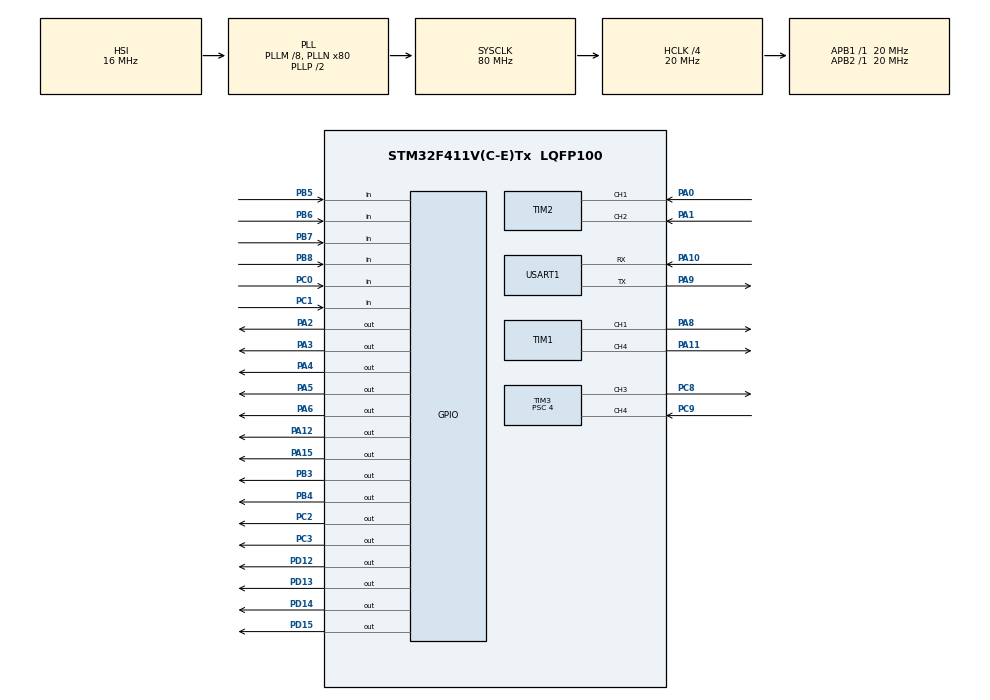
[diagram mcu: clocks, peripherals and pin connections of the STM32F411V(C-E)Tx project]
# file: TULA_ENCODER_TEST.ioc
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Mcu.Family=STM32F4
Mcu.Name=STM32F411V(C-E)Tx
Mcu.Package=LQFP100
NVIC.PriorityGroup=NVIC_PRIORITYGROUP_4
PA0-WKUP.Signal=S_TIM2_CH1_ETR
PA1.Signal=S_TIM2_CH2
PA10.Mode=Asynchronous
PA10.Signal=USART1_RX
PA11.Signal=S_TIM1_CH4
PA12.Signal=GPIO_Output
PA13.Mode=Serial_Wire
PA13.Signal=SYS_JTMS-SWDIO
PA14.Mode=Serial_Wire
PA14.Signal=SYS_JTCK-SWCLK
PA15.Signal=GPIO_Output
PA2.Signal=GPIO_Output
PA3.Signal=GPIO_Output
PA4.Signal=GPIO_Output
PA5.Signal=GPIO_Output
PA6.Signal=GPIO_Output
PA8.Signal=S_TIM1_CH1
PA9.Mode=Asynchronous
PA9.Signal=USART1_TX
PB3.Signal=GPIO_Output
PB4.Signal=GPIO_Output
PB5.Signal=GPIO_Input
PB6.Signal=GPIO_Input
PB7.Signal=GPIO_Input
PB8.Signal=GPIO_Input
PC0.Signal=GPIO_Input
PC1.Signal=GPIO_Input
PC14-OSC32_IN.Mode=LSE-External-Oscillator
PC14-OSC32_IN.Signal=RCC_OSC32_IN
PC15-OSC32_OUT.Mode=LSE-External-Oscillator
PC15-OSC32_OUT.Signal=RCC_OSC32_OUT
PC2.Signal=GPIO_Output
PC3.Signal=GPIO_Output
PC8.Signal=S_TIM3_CH3
PC9.Signal=S_TIM3_CH4
PD12.Signal=GPIO_Output
PD13.Signal=GPIO_Output
PD14.Signal=GPIO_Output
PD15.Signal=GPIO_Output
PH0\ -\ OSC_IN.Mode=HSE-External-Oscillator
PH0\ -\ OSC_IN.Signal=RCC_OSC_IN
PH1\ -\ OSC_OUT.Mode=HSE-External-Oscillator
PH1\ -\ OSC_OUT.Signal=RCC_OSC_OUT
ProjectManager.HeapSize=0x200
ProjectManager.StackSize=0x400
ProjectManager.TargetToolchain=STM32CubeIDE
RCC.48MHZClocksFreq_Value=40000000
RCC.AHBCLKDivider=RCC_SYSCLK_DIV4
RCC.AHBFreq_Value=20000000
RCC.APB1Freq_Value=20000000
RCC.APB1TimFreq_Value=20000000
RCC.APB2Freq_Value=20000000
RCC.APB2TimFreq_Value=20000000
RCC.CortexFreq_Value=20000000
RCC.HCLKFreq_Value=20000000
RCC.HSE_VALUE=25000000
RCC.HSI_VALUE=16000000
RCC.PLLM=8
RCC.PLLN=80
RCC.SYSCLKFreq_VALUE=80000000
RCC.SYSCLKSource=RCC_SYSCLKSOURCE_PLLCLK
RCC.VCOOutputFreq_Value=160000000
SH.S_TIM1_CH1.0=TIM1_CH1,PWM Generation1 CH1
SH.S_TIM1_CH4.0=TIM1_CH4,PWM Generation4 CH4
SH.S_TIM2_CH1_ETR.0=TIM2_CH1,Encoder_Interface
SH.S_TIM2_CH2.0=TIM2_CH2,Encoder_Interface
SH.S_TIM3_CH3.0=TIM3_CH3,PWM Generation3 CH3
SH.S_TIM3_CH4.0=TIM3_CH4,Input_Capture4_from_TI4
TIM1.Channel-PWM\ Generation1\ CH1=TIM_CHANNEL_1
TIM1.Channel-PWM\ Generation4\ CH4=TIM_CHANNEL_4
TIM3.Channel-Input_Capture4_from_TI4=TIM_CHANNEL_4
TIM3.Channel-PWM\ Generation3\ CH3=TIM_CHANNEL_3
TIM3.Prescaler=4
TIM3.Pulse-PWM\ Generation3\ CH3=49999
USART1.VirtualMode=VM_ASYNC
VP_TIM3_VS_ClockSourceINT.Mode=Internal
VP_TIM3_VS_OPM.Mode=OPM_bit
board=custom

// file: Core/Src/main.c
/* USER CODE BEGIN Header */
/**
 ******************************************************************************
 * @file           : main.c
 * @brief          : Main program body
 ******************************************************************************
 * @attention
 *
 * Copyright (c) 2025 STMicroelectronics.
 * All rights reserved.
 *
 * This software is licensed under terms that can be found in the LICENSE file
 * in the root directory of this software component.
 * If no LICENSE file comes with this software, it is provided AS-IS.
 *
 ******************************************************************************
 */
/* USER CODE END Header */
#include "main.h"

TIM_HandleTypeDef htim1;
TIM_HandleTypeDef htim2;
TIM_HandleTypeDef htim3;

UART_HandleTypeDef huart1;

void SystemClock_Config(void);
static void MX_GPIO_Init(void);
static void MX_TIM2_Init(void);
static void MX_TIM1_Init(void);
static void MX_TIM3_Init(void);
static void MX_USART1_UART_Init(void);
/* USER CODE BEGIN PFP */
void LED_Blink(uint16_t pin, uint32_t delay);
void LED_Blink_Sequence(uint32_t delay);

/* USER CODE END PFP */

/* USER CODE BEGIN 0 */

void LED_Blink(uint16_t pin, uint32_t delay) {
    HAL_GPIO_WritePin(GPIOD, pin, GPIO_PIN_SET);
    HAL_Delay(delay);
    HAL_GPIO_WritePin(GPIOD, pin, GPIO_PIN_RESET);
}

// LED 순차 점멸 함수
void LED_Blink_Sequence(uint32_t delay) {
    LED_Blink(GPIO_PIN_12, delay);
    LED_Blink(GPIO_PIN_13, delay);
    LED_Blink(GPIO_PIN_14, delay);
    LED_Blink(GPIO_PIN_15, delay);
}

/* USER CODE END 0 */

int main(void)
{

  /* MCU Configuration--------------------------------------------------------*/

  /* Reset of all peripherals, Initializes the Flash interface and the Systick. */
  HAL_Init();

  /* Configure the system clock */
  SystemClock_Config();

  /* Initialize all configured peripherals */
  MX_GPIO_Init();
  MX_TIM2_Init();
  MX_TIM1_Init();
  MX_TIM3_Init();
  MX_USART1_UART_Init();
  /* USER CODE BEGIN 2 */
  HAL_TIM_OnePulse_Start(&htim3, TIM_CHANNEL_3);

  /* USER CODE END 2 */

  /* Infinite loop */
	while (1) {

    /* USER CODE BEGIN 3 */

        LED_Blink_Sequence(1000);

	}
  /* USER CODE END 3 */
}

void SystemClock_Config(void)
{
  RCC_OscInitTypeDef RCC_OscInitStruct = {0};
  RCC_ClkInitTypeDef RCC_ClkInitStruct = {0};

  /** Configure the main internal regulator output voltage
  */
  __HAL_RCC_PWR_CLK_ENABLE();
  __HAL_PWR_VOLTAGESCALING_CONFIG(PWR_REGULATOR_VOLTAGE_SCALE1);

  /** Initializes the RCC Oscillators according to the specified parameters
  * in the RCC_OscInitTypeDef structure.
  */
  RCC_OscInitStruct.OscillatorType = RCC_OSCILLATORTYPE_HSI;
  RCC_OscInitStruct.HSIState = RCC_HSI_ON;
  RCC_OscInitStruct.HSICalibrationValue = RCC_HSICALIBRATION_DEFAULT;
  RCC_OscInitStruct.PLL.PLLState = RCC_PLL_ON;
  RCC_OscInitStruct.PLL.PLLSource = RCC_PLLSOURCE_HSI;
  RCC_OscInitStruct.PLL.PLLM = 8;
  RCC_OscInitStruct.PLL.PLLN = 80;
  RCC_OscInitStruct.PLL.PLLP = RCC_PLLP_DIV2;
  RCC_OscInitStruct.PLL.PLLQ = 4;
  if (HAL_RCC_OscConfig(&RCC_OscInitStruct) != HAL_OK)
  {
    Error_Handler();
  }

  /** Initializes the CPU, AHB and APB buses clocks
  */
  RCC_ClkInitStruct.ClockType = RCC_CLOCKTYPE_HCLK|RCC_CLOCKTYPE_SYSCLK
                              |RCC_CLOCKTYPE_PCLK1|RCC_CLOCKTYPE_PCLK2;
  RCC_ClkInitStruct.SYSCLKSource = RCC_SYSCLKSOURCE_PLLCLK;
  RCC_ClkInitStruct.AHBCLKDivider = RCC_SYSCLK_DIV4;
  RCC_ClkInitStruct.APB1CLKDivider = RCC_HCLK_DIV1;
  RCC_ClkInitStruct.APB2CLKDivider = RCC_HCLK_DIV1;

  if (HAL_RCC_ClockConfig(&RCC_ClkInitStruct, FLASH_LATENCY_0) != HAL_OK)
  {
    Error_Handler();
  }
}

static void MX_TIM1_Init(void)
{

  TIM_MasterConfigTypeDef sMasterConfig = {0};
  TIM_OC_InitTypeDef sConfigOC = {0};
  TIM_BreakDeadTimeConfigTypeDef sBreakDeadTimeConfig = {0};

  htim1.Instance = TIM1;
  htim1.Init.Prescaler = 0;
  htim1.Init.CounterMode = TIM_COUNTERMODE_UP;
  htim1.Init.Period = 65535;
  htim1.Init.ClockDivision = TIM_CLOCKDIVISION_DIV1;
  htim1.Init.RepetitionCounter = 0;
  htim1.Init.AutoReloadPreload = TIM_AUTORELOAD_PRELOAD_DISABLE;
  if (HAL_TIM_PWM_Init(&htim1) != HAL_OK)
  {
    Error_Handler();
  }
  sMasterConfig.MasterOutputTrigger = TIM_TRGO_RESET;
  sMasterConfig.MasterSlaveMode = TIM_MASTERSLAVEMODE_DISABLE;
  if (HAL_TIMEx_MasterConfigSynchronization(&htim1, &sMasterConfig) != HAL_OK)
  {
    Error_Handler();
  }
  sConfigOC.OCMode = TIM_OCMODE_PWM1;
  sConfigOC.Pulse = 0;
  sConfigOC.OCPolarity = TIM_OCPOLARITY_HIGH;
  sConfigOC.OCNPolarity = TIM_OCNPOLARITY_HIGH;
  sConfigOC.OCFastMode = TIM_OCFAST_DISABLE;
  sConfigOC.OCIdleState = TIM_OCIDLESTATE_RESET;
  sConfigOC.OCNIdleState = TIM_OCNIDLESTATE_RESET;
  if (HAL_TIM_PWM_ConfigChannel(&htim1, &sConfigOC, TIM_CHANNEL_1) != HAL_OK)
  {
    Error_Handler();
  }
  if (HAL_TIM_PWM_ConfigChannel(&htim1, &sConfigOC, TIM_CHANNEL_4) != HAL_OK)
  {
    Error_Handler();
  }
  sBreakDeadTimeConfig.OffStateRunMode = TIM_OSSR_DISABLE;
  sBreakDeadTimeConfig.OffStateIDLEMode = TIM_OSSI_DISABLE;
  sBreakDeadTimeConfig.LockLevel = TIM_LOCKLEVEL_OFF;
  sBreakDeadTimeConfig.DeadTime = 0;
  sBreakDeadTimeConfig.BreakState = TIM_BREAK_DISABLE;
  sBreakDeadTimeConfig.BreakPolarity = TIM_BREAKPOLARITY_HIGH;
  sBreakDeadTimeConfig.AutomaticOutput = TIM_AUTOMATICOUTPUT_DISABLE;
  if (HAL_TIMEx_ConfigBreakDeadTime(&htim1, &sBreakDeadTimeConfig) != HAL_OK)
  {
    Error_Handler();
  }
  HAL_TIM_MspPostInit(&htim1);

}

static void MX_TIM2_Init(void)
{

  TIM_Encoder_InitTypeDef sConfig = {0};
  TIM_MasterConfigTypeDef sMasterConfig = {0};

  htim2.Instance = TIM2;
  htim2.Init.Prescaler = 0;
  htim2.Init.CounterMode = TIM_COUNTERMODE_UP;
  htim2.Init.Period = 4294967295;
  htim2.Init.ClockDivision = TIM_CLOCKDIVISION_DIV1;
  htim2.Init.AutoReloadPreload = TIM_AUTORELOAD_PRELOAD_DISABLE;
  sConfig.EncoderMode = TIM_ENCODERMODE_TI1;
  sConfig.IC1Polarity = TIM_ICPOLARITY_RISING;
  sConfig.IC1Selection = TIM_ICSELECTION_DIRECTTI;
  sConfig.IC1Prescaler = TIM_ICPSC_DIV1;
  sConfig.IC1Filter = 0;
  sConfig.IC2Polarity = TIM_ICPOLARITY_RISING;
  sConfig.IC2Selection = TIM_ICSELECTION_DIRECTTI;
  sConfig.IC2Prescaler = TIM_ICPSC_DIV1;
  sConfig.IC2Filter = 0;
  if (HAL_TIM_Encoder_Init(&htim2, &sConfig) != HAL_OK)
  {
    Error_Handler();
  }
  sMasterConfig.MasterOutputTrigger = TIM_TRGO_RESET;
  sMasterConfig.MasterSlaveMode = TIM_MASTERSLAVEMODE_DISABLE;
  if (HAL_TIMEx_MasterConfigSynchronization(&htim2, &sMasterConfig) != HAL_OK)
  {
    Error_Handler();
  }
  /* USER CODE BEGIN TIM2_Init 2 */
  printf("asd");

  /* USER CODE END TIM2_Init 2 */

}

static void MX_TIM3_Init(void)
{

  /* USER CODE BEGIN TIM3_Init 0 */
  TIM_OnePulse_InitTypeDef sConfig;

  /* USER CODE END TIM3_Init 0 */

  TIM_ClockConfigTypeDef sClockSourceConfig = {0};
  TIM_MasterConfigTypeDef sMasterConfig = {0};
  TIM_OC_InitTypeDef sConfigOC = {0};
  TIM_IC_InitTypeDef sConfigIC = {0};

  htim3.Instance = TIM3;
  htim3.Init.Prescaler = 4;
  htim3.Init.CounterMode = TIM_COUNTERMODE_UP;
  htim3.Init.Period = 65535;
  htim3.Init.ClockDivision = TIM_CLOCKDIVISION_DIV1;
  htim3.Init.AutoReloadPreload = TIM_AUTORELOAD_PRELOAD_DISABLE;
  if (HAL_TIM_Base_Init(&htim3) != HAL_OK)
  {
    Error_Handler();
  }
  sClockSourceConfig.ClockSource = TIM_CLOCKSOURCE_INTERNAL;
  if (HAL_TIM_ConfigClockSource(&htim3, &sClockSourceConfig) != HAL_OK)
  {
    Error_Handler();
  }
  if (HAL_TIM_PWM_Init(&htim3) != HAL_OK)
  {
    Error_Handler();
  }
  if (HAL_TIM_IC_Init(&htim3) != HAL_OK)
  {
    Error_Handler();
  }
  if (HAL_TIM_OnePulse_Init(&htim3, TIM_OPMODE_SINGLE) != HAL_OK)
  {
    Error_Handler();
  }
  sMasterConfig.MasterOutputTrigger = TIM_TRGO_RESET;
  sMasterConfig.MasterSlaveMode = TIM_MASTERSLAVEMODE_DISABLE;
  if (HAL_TIMEx_MasterConfigSynchronization(&htim3, &sMasterConfig) != HAL_OK)
  {
    Error_Handler();
  }
  sConfigOC.OCMode = TIM_OCMODE_PWM1;
  sConfigOC.Pulse = 49999;
  sConfigOC.OCPolarity = TIM_OCPOLARITY_HIGH;
  sConfigOC.OCFastMode = TIM_OCFAST_DISABLE;
  if (HAL_TIM_PWM_ConfigChannel(&htim3, &sConfigOC, TIM_CHANNEL_3) != HAL_OK)
  {
    Error_Handler();
  }
  sConfigIC.ICPolarity = TIM_INPUTCHANNELPOLARITY_RISING;
  sConfigIC.ICSelection = TIM_ICSELECTION_DIRECTTI;
  sConfigIC.ICPrescaler = TIM_ICPSC_DIV1;
  sConfigIC.ICFilter = 0;
  if (HAL_TIM_IC_ConfigChannel(&htim3, &sConfigIC, TIM_CHANNEL_4) != HAL_OK)
  {
    Error_Handler();
  }
  /* USER CODE BEGIN TIM3_Init 2 */
  HAL_TIM_OnePulse_ConfigChannel(&htim3, &sConfig, TIM_CHANNEL_3, TIM_CHANNEL_4);

  /* USER CODE END TIM3_Init 2 */
  HAL_TIM_MspPostInit(&htim3);

}

static void MX_USART1_UART_Init(void)
{

  huart1.Instance = USART1;
  huart1.Init.BaudRate = 115200;
  huart1.Init.WordLength = UART_WORDLENGTH_8B;
  huart1.Init.StopBits = UART_STOPBITS_1;
  huart1.Init.Parity = UART_PARITY_NONE;
  huart1.Init.Mode = UART_MODE_TX_RX;
  huart1.Init.HwFlowCtl = UART_HWCONTROL_NONE;
  huart1.Init.OverSampling = UART_OVERSAMPLING_16;
  if (HAL_UART_Init(&huart1) != HAL_OK)
  {
    Error_Handler();
  }

}

static void MX_GPIO_Init(void)
{
  GPIO_InitTypeDef GPIO_InitStruct = {0};

  /* GPIO Ports Clock Enable */
  __HAL_RCC_GPIOC_CLK_ENABLE();
  __HAL_RCC_GPIOH_CLK_ENABLE();
  __HAL_RCC_GPIOA_CLK_ENABLE();
  __HAL_RCC_GPIOD_CLK_ENABLE();
  __HAL_RCC_GPIOB_CLK_ENABLE();

  /*Configure GPIO pin Output Level */
  HAL_GPIO_WritePin(GPIOC, GPIO_PIN_2|GPIO_PIN_3, GPIO_PIN_RESET);

  /*Configure GPIO pin Output Level */
  HAL_GPIO_WritePin(GPIOA, GPIO_PIN_2|GPIO_PIN_3|GPIO_PIN_4|GPIO_PIN_5
                          |GPIO_PIN_6|GPIO_PIN_12|GPIO_PIN_15, GPIO_PIN_RESET);

  /*Configure GPIO pin Output Level */
  HAL_GPIO_WritePin(GPIOD, GPIO_PIN_12|GPIO_PIN_13|GPIO_PIN_14|GPIO_PIN_15, GPIO_PIN_RESET);

  /*Configure GPIO pin Output Level */
  HAL_GPIO_WritePin(GPIOB, GPIO_PIN_3|GPIO_PIN_4, GPIO_PIN_RESET);

  /*Configure GPIO pins : PC0 PC1 */
  GPIO_InitStruct.Pin = GPIO_PIN_0|GPIO_PIN_1;
  GPIO_InitStruct.Mode = GPIO_MODE_INPUT;
  GPIO_InitStruct.Pull = GPIO_NOPULL;
  HAL_GPIO_Init(GPIOC, &GPIO_InitStruct);

  /*Configure GPIO pins : PC2 PC3 */
  GPIO_InitStruct.Pin = GPIO_PIN_2|GPIO_PIN_3;
  GPIO_InitStruct.Mode = GPIO_MODE_OUTPUT_PP;
  GPIO_InitStruct.Pull = GPIO_NOPULL;
  GPIO_InitStruct.Speed = GPIO_SPEED_FREQ_LOW;
  HAL_GPIO_Init(GPIOC, &GPIO_InitStruct);

  /*Configure GPIO pins : PA2 PA3 PA4 PA5
                           PA6 PA12 PA15 */
  GPIO_InitStruct.Pin = GPIO_PIN_2|GPIO_PIN_3|GPIO_PIN_4|GPIO_PIN_5
                          |GPIO_PIN_6|GPIO_PIN_12|GPIO_PIN_15;
  GPIO_InitStruct.Mode = GPIO_MODE_OUTPUT_PP;
  GPIO_InitStruct.Pull = GPIO_NOPULL;
  GPIO_InitStruct.Speed = GPIO_SPEED_FREQ_LOW;
  HAL_GPIO_Init(GPIOA, &GPIO_InitStruct);

  /*Configure GPIO pins : PD12 PD13 PD14 PD15 */
  GPIO_InitStruct.Pin = GPIO_PIN_12|GPIO_PIN_13|GPIO_PIN_14|GPIO_PIN_15;
  GPIO_InitStruct.Mode = GPIO_MODE_OUTPUT_PP;
  GPIO_InitStruct.Pull = GPIO_NOPULL;
  GPIO_InitStruct.Speed = GPIO_SPEED_FREQ_LOW;
  HAL_GPIO_Init(GPIOD, &GPIO_InitStruct);

  /*Configure GPIO pins : PB3 PB4 */
  GPIO_InitStruct.Pin = GPIO_PIN_3|GPIO_PIN_4;
  GPIO_InitStruct.Mode = GPIO_MODE_OUTPUT_PP;
  GPIO_InitStruct.Pull = GPIO_NOPULL;
  GPIO_InitStruct.Speed = GPIO_SPEED_FREQ_LOW;
  HAL_GPIO_Init(GPIOB, &GPIO_InitStruct);

  /*Configure GPIO pins : PB5 PB6 PB7 PB8 */
  GPIO_InitStruct.Pin = GPIO_PIN_5|GPIO_PIN_6|GPIO_PIN_7|GPIO_PIN_8;
  GPIO_InitStruct.Mode = GPIO_MODE_INPUT;
  GPIO_InitStruct.Pull = GPIO_NOPULL;
  HAL_GPIO_Init(GPIOB, &GPIO_InitStruct);

}

void Error_Handler(void)
{
	__disable_irq();
	while (1) {
	}
}
